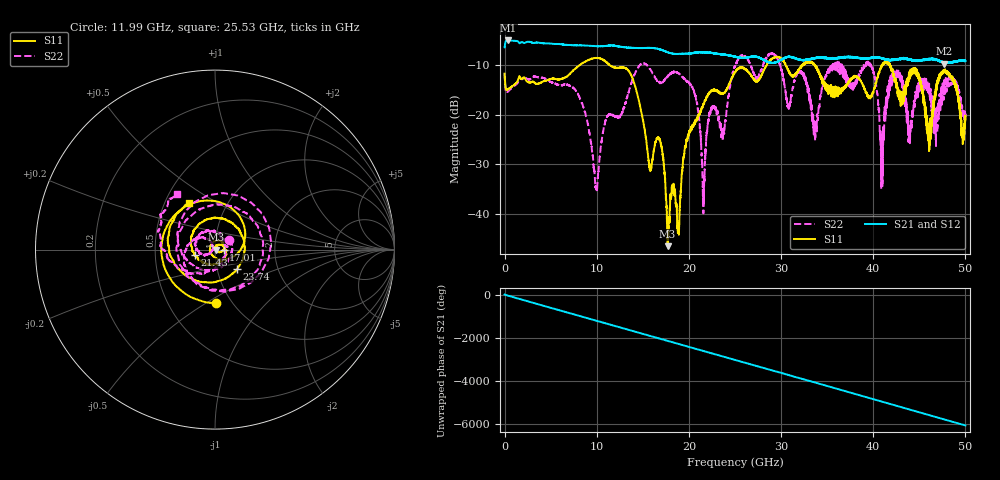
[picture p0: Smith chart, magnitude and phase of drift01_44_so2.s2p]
!Created with skrf (http://scikit-rf.org).
# Hz S RI R 50.0
!freq ReS11 ImS11 ReS21 ImS21 ReS12 ImS12 ReS22 ImS22
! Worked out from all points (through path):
!   10001 points, 300 kHz to 50 GHz, reference 50 ohm
!   highest |S21| = -5.05 dB at 415.3 MHz (marker M1); lowest = -9.7 dB at 47.67 GHz (marker M2)
!   group delay of S21, straight-line fit = 336 ps
!   lowest |S11| = -46.4 dB at 17.69 GHz (marker M3), VSWR 1.01, Z = 50.5 - j0.0516 ohm
!   |S11| at or under -10 dB: start of sweep to 8.152 GHz; 11.42 GHz to 28.44 GHz (17.02 GHz wide, 85.4 % of centre); 41.79 GHz to end of sweep (the widest 3 of 12)
!   |S22| runs from -39.9 to -7.6 dB; largest |S21 - S12| = 0.015
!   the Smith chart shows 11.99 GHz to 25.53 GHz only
!   S11 on the Smith chart (normalised r, x): 11.99 GHz: 0.84, -0.55; 17.01 GHz: 1.10, -0.00; 21.43 GHz: 0.79, -0.05; 23.74 GHz: 1.25, -0.28; 25.53 GHz: 0.66, +0.38
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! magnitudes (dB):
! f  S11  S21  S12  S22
! 300 kHz  -11.7  -6.4  -6.5  -11.7
! 415.3 MHz  -14.8  -5.1  -5.1  -15.2
! 8.335 GHz  -9.7  -6.0  -6.0  -17.5
! 9.935 GHz  -8.6  -6.2  -6.2  -34.6
! 11.99 GHz  -10.5  -6.2  -6.1  -20.4
! 15.79 GHz  -31.2  -6.5  -6.5  -10.8
! 16.67 GHz  -24.6  -6.8  -6.8  -13.4
! 17.01 GHz  -26.4  -6.9  -6.9  -13.6
! 17.69 GHz  -46.4  -7.4  -7.4  -12.3
! 20.5 GHz  -22.1  -7.6  -7.6  -14.9
! 21.43 GHz  -18.6  -7.4  -7.4  -30.0
! 22.47 GHz  -15.2  -7.6  -7.6  -19.1
! 23.74 GHz  -15.7  -7.9  -7.9  -23.2
! 25 GHz  -11.4  -8.3  -8.4  -10.3
! 25.53 GHz  -10.6  -8.5  -8.5  -8.5
! 33.34 GHz  -9.5  -8.7  -8.7  -19.9
! 39.49 GHz  -16.5  -8.6  -8.6  -10.0
! 40.94 GHz  -9.9  -8.6  -8.7  -29.3
! 41.67 GHz  -9.8  -8.9  -9.0  -15.4
! 46.1 GHz  -26.0  -8.8  -8.8  -15.4
! 47.67 GHz  -11.3  -9.7  -9.6  -14.8
! 50 GHz  -21.0  -9.2  -9.2  -20.4
